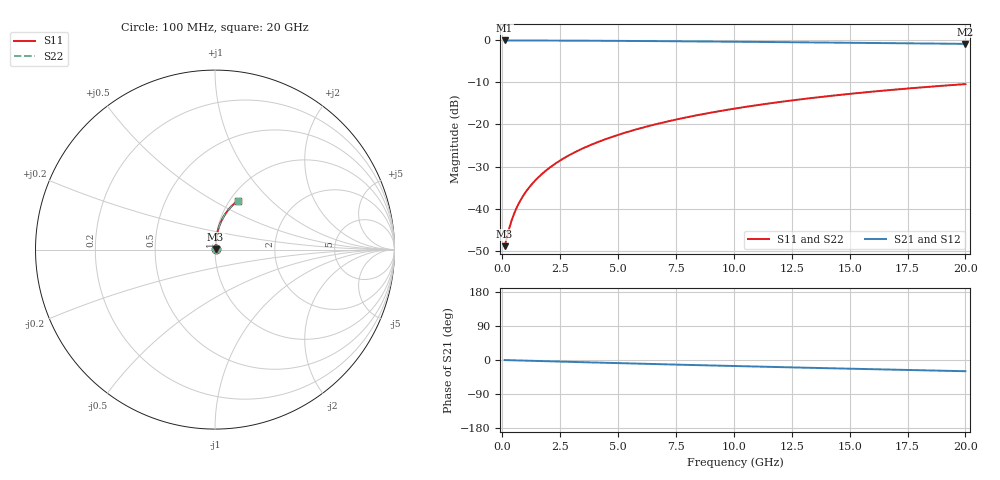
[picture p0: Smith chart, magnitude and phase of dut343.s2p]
! Touchstone file exported from HFSS 2024.1.0
!  File:  C:/UserFiles/LocalFiles/RDL_TSV_Batchsim/temp_RDL_bottom_343_1779612035.aedt
!  Generated:  04:43:04 PM May 24, 2026
!  Design:  RDL_bottom
!  Project:  temp_RDL_bottom_343_1779612035
!  Setup:  Setup1
!  Solution:  Sweep
! Variables:
!  dtsv = 10.80580581um
!  hbump = 3um
!  htsv = 85.91um
!  ldown = 404.31um
!  lrdl = 100um
!  p = 40
!  p1 = 41.15um
!  rhole = 1um
!  t = 450um
!  tdown = 2.73um
!  trdl = 3.915915916um
!  wdown = 17.71um
!  wrdl = 20um
# GHz S MA R 50.000000
! Terminal data exported
! Port[1] = RDL1_T1
! Port[2] = RDL1_T2
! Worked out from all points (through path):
!   200 points, 100 MHz to 20 GHz, reference 50 ohm
!   highest |S21| = -0.03 dB at 100 MHz (marker M1); lowest = -0.8 dB at 20 GHz (marker M2)
!   group delay of S21, straight-line fit = 4.1 ps
!   lowest |S11| = -48.9 dB at 100 MHz (marker M3), VSWR 1.01, Z = 50.3 + j0.163 ohm
!   |S11| at or under -10 dB: start of sweep to end of sweep
!   |S22| runs from -48.9 to -10.4 dB; largest |S21 - S12| = 3e-15
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0.1  0.003571 26.9  0.9968 -0.2  0.9968 -0.2  0.003571 26.9
! Gamma 0 0 0 0
! Port Impedance 50 0 50 0
0.3  0.005831 54.8  0.9966 -0.5  0.9966 -0.5  0.005831 54.8
0.4  0.007179 61.0  0.9965 -0.7  0.9965 -0.7  0.007179 61.0
0.5  0.008557 65.2  0.9963 -0.9  0.9963 -0.9  0.008557 65.2
0.6  0.009946 68.2  0.9962 -1.0  0.9962 -1.0  0.009946 68.2
0.7  0.01134 70.5  0.9961 -1.2  0.9961 -1.2  0.01134 70.5
0.9  0.01415 73.8  0.9958 -1.5  0.9958 -1.5  0.01415 73.8
1.2  0.0184 77.0  0.9954 -2.0  0.9954 -2.0  0.0184 77.0
1.4  0.02126 78.4  0.9952 -2.4  0.9952 -2.4  0.02126 78.4
1.7  0.02559 79.9  0.9947 -2.9  0.9947 -2.9  0.02559 79.9
2.2  0.03289 81.5  0.9939 -3.7  0.9939 -3.7  0.03289 81.5
2.8  0.04176 82.5  0.9926 -4.7  0.9926 -4.7  0.04176 82.5
3.5  0.05224 83.0  0.9907 -5.8  0.9907 -5.8  0.05224 83.0
4.2  0.06285 83.1  0.9886 -7.0  0.9886 -7.0  0.06285 83.1
5  0.07512 82.9  0.9858 -8.3  0.9858 -8.3  0.07512 82.9
5.9  0.0891 82.4  0.9823 -9.7  0.9823 -9.7  0.0891 82.4
6.8  0.1032 81.7  0.9785 -11.1  0.9785 -11.1  0.1032 81.7
8.4  0.1285 80.1  0.9711 -13.5  0.9711 -13.5  0.1285 80.1
10.1  0.1554 78.2  0.9626 -16.1  0.9626 -16.1  0.1554 78.2
13.4  0.2068 73.9  0.9451 -20.8  0.9451 -20.8  0.2068 73.9
16.7  0.2559 69.4  0.9266 -25.3  0.9266 -25.3  0.2559 69.4
20  0.3019 64.9  0.9076 -29.6  0.9076 -29.6  0.3019 64.9
